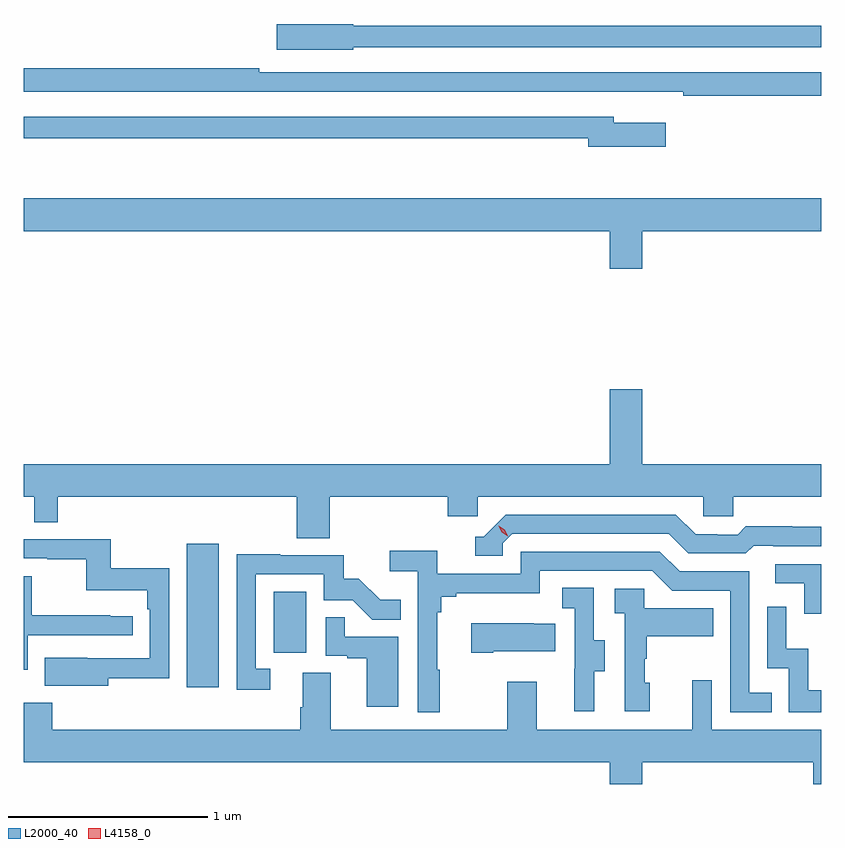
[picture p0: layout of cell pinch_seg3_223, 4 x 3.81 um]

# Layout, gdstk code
import gdstk
lib = gdstk.Library(unit=1e-6, precision=1e-09)
def R(c, l, rs):  # rectangles x0, y0, x1, y1
    for r in rs: c.add(gdstk.rectangle(r[:2], r[2:], *l))
def P(c, l, *ps):  # polygons
    for p in ps: c.add(gdstk.Polygon(p, *l))
L2000_40 = (2000, 40)
L4158_0 = (4158, 0)

pinch_seg3_223 = lib.new_cell('pinch_seg3_223')
R(pinch_seg3_223, L2000_40, [(930.119,729.264,930.28,729.985), (930.554,729.438,930.718,729.745)])
P(pinch_seg3_223, L2000_40, [(930.954,732.474),(933.301,732.474),(933.301,732.583),(930.954,732.583),(930.954,732.591),(930.57,732.591),(930.57,732.461),(930.954,732.461)],
  [(933.301,732.348),(930.482,732.348),(930.482,732.368),(929.301,732.368),(929.301,732.252),(932.356,732.252),(932.356,732.251),(932.608,732.251),(932.608,732.232),(933.301,732.232)],
  [(932.521,732.097),(932.26,732.097),(932.26,732.126),(929.301,732.126),(929.301,732.018),(932.132,732.018),(932.132,731.975),(932.521,731.975)],
  [(932.404,731.552),(933.301,731.552),(933.301,731.716),(929.301,731.716),(929.301,731.552),(932.24,731.552),(932.24,731.364),(932.404,731.364)],
  [(929.301,730.22),(929.355,730.22),(929.355,730.093),(929.471,730.093),(929.471,730.22),(930.671,730.22),(930.671,730.012),(930.836,730.012),(930.836,730.22),(931.427,730.22),(931.427,730.122),(931.578,730.122),(931.578,730.22),(932.709,730.22),(932.709,730.122),(932.859,730.122),(932.859,730.22),(933.301,730.22),(933.301,730.384),(932.404,730.384),(932.404,730.759),(932.24,730.759),(932.24,730.384),(929.301,730.384)],
  [(931.704,729.987),(931.752,730.035),(932.535,730.035),(932.634,729.936),(932.923,729.936),(932.962,729.975),(933.061,729.975),(933.061,729.972),(933.301,729.972),(933.301,730.069),(933.156,730.069),(933.156,730.072),(932.923,730.072),(932.881,730.029),(932.778,730.029),(932.778,730.032),(932.671,730.032),(932.572,730.131),(931.719,730.131),(931.608,730.02),(931.565,730.02),(931.565,729.924),(931.704,729.924)],
  [(929.725,729.31),(930.03,729.31),(930.03,729.862),(929.737,729.862),(929.737,730.008),(929.301,730.008),(929.301,729.912),(929.419,729.912),(929.419,729.907),(929.616,729.907),(929.616,729.752),(929.921,729.752),(929.921,729.656),(929.934,729.656),(929.934,729.411),(929.621,729.411),(929.621,729.412),(929.407,729.412),(929.407,729.272),(929.725,729.272)],
  [(931.387,729.353),(931.375,729.353),(931.375,729.641),(931.394,729.641),(931.394,729.718),(931.471,729.718),(931.471,729.737),(931.89,729.737),(931.89,729.849),(932.454,729.849),(932.553,729.75),(932.844,729.75),(932.844,729.141),(933.053,729.141),(933.053,729.237),(932.94,729.237),(932.94,729.846),(932.59,729.846),(932.491,729.945),(931.794,729.945),(931.794,729.834),(931.376,729.834),(931.376,729.95),(931.137,729.95),(931.137,729.848),(931.278,729.848),(931.278,729.141),(931.387,729.141)],
  [(930.538,729.357),(930.465,729.357),(930.465,729.831),(930.807,729.831),(930.807,729.702),(930.951,729.702),(931.049,729.604),(931.193,729.604),(931.193,729.703),(931.089,729.703),(930.982,729.81),(930.906,729.81),(930.906,729.927),(930.587,729.927),(930.587,729.932),(930.369,729.932),(930.369,729.252),(930.538,729.252)],
  [(933.301,729.882),(933.069,729.882),(933.069,729.786),(933.216,729.786),(933.216,729.633),(933.301,729.633)],
  [(929.322,729.525),(929.848,729.525),(929.848,729.621),(929.735,729.621),(929.735,729.626),(929.342,729.626),(929.342,729.822),(929.301,729.822),(929.301,729.353),(929.322,729.353)],
  [(932.161,729.346),(932.215,729.346),(932.215,729.501),(932.16,729.501),(932.16,729.764),(932.001,729.764),(932.001,729.661),(932.064,729.661),(932.064,729.357),(932.063,729.357),(932.063,729.144),(932.161,729.144)],
  [(932.44,729.288),(932.415,729.288),(932.415,729.407),(932.425,729.407),(932.425,729.521),(932.759,729.521),(932.759,729.661),(932.412,729.661),(932.412,729.759),(932.265,729.759),(932.265,729.635),(932.316,729.635),(932.316,729.144),(932.44,729.144)],
  [(933.301,729.25),(933.236,729.25),(933.236,729.458),(933.126,729.458),(933.126,729.67),(933.03,729.67),(933.03,729.36),(933.138,729.36),(933.138,729.141),(933.301,729.141)],
  [(931.18,729.519),(930.911,729.519),(930.911,729.617),(930.816,729.617),(930.816,729.423),(930.923,729.423),(930.923,729.411),(931.022,729.411),(931.022,729.168),(931.18,729.168)],
  [(931.657,729.446),(931.967,729.446),(931.967,729.583),(931.859,729.583),(931.859,729.586),(931.545,729.586),(931.545,729.439),(931.657,729.439)],
  [(932.404,728.888),(933.26,728.888),(933.26,728.78),(933.301,728.78),(933.301,729.052),(932.751,729.052),(932.751,729.301),(932.654,729.301),(932.654,729.052),(931.873,729.052),(931.873,729.292),(931.726,729.292),(931.726,729.052),(930.841,729.052),(930.841,729.338),(930.701,729.338),(930.701,729.164),(930.689,729.164),(930.689,729.052),(929.444,729.052),(929.444,729.187),(929.301,729.187),(929.301,728.888),(932.24,728.888),(932.24,728.78),(932.404,728.78)])
P(pinch_seg3_223, L4158_0, [(931.729,730.022),(931.698,730.042),(931.683,730.075),(931.683,730.075),(931.683,730.075),(931.713,730.055),(931.729,730.022),(931.729,730.022)])

lib.write_gds('pinch_seg3_223.gds')
